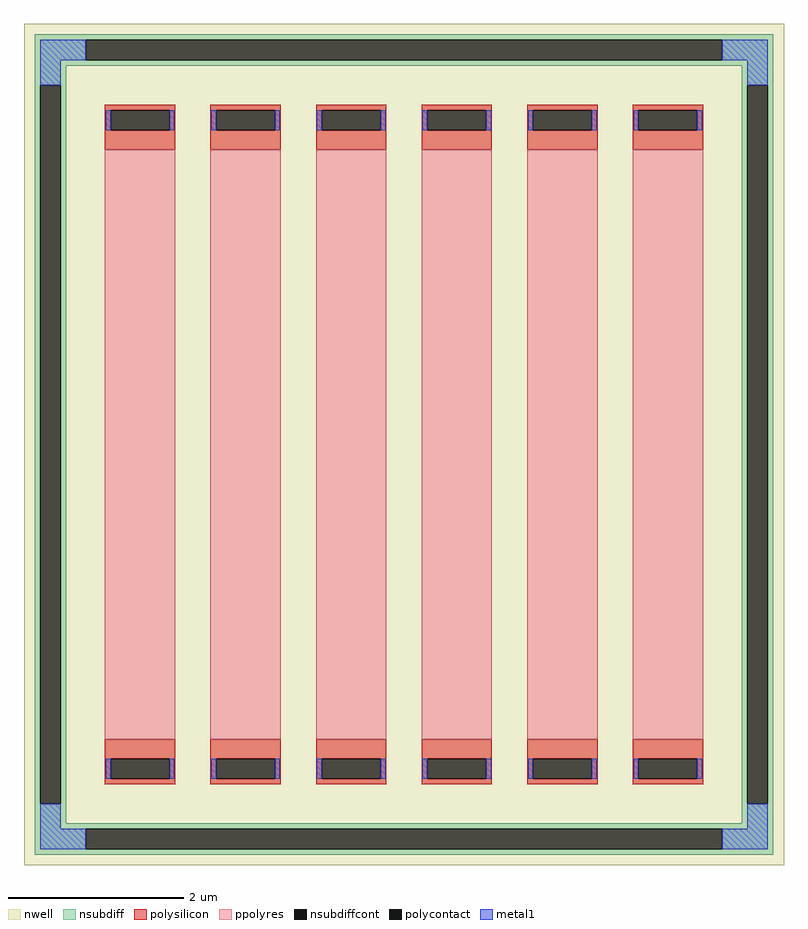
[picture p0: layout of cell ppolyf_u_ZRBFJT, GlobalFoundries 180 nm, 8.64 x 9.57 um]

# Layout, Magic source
magic
tech gf180mcuC
magscale 1 10
<< nwell >>
rect -864 -957 864 957
<< nsubdiff >>
rect -840 920 840 933
rect -840 874 -724 920
rect 724 874 840 920
rect -840 861 840 874
rect -840 817 -768 861
rect -840 -817 -827 817
rect -781 -817 -768 817
rect 768 817 840 861
rect -840 -861 -768 -817
rect 768 -817 781 817
rect 827 -817 840 817
rect 768 -861 840 -817
rect -840 -874 840 -861
rect -840 -920 -724 -874
rect 724 -920 840 -874
rect -840 -933 840 -920
<< nsubdiffcont >>
rect -724 874 724 920
rect -827 -817 -781 817
rect 781 -817 827 817
rect -724 -920 724 -874
<< polysilicon >>
rect -680 760 -520 773
rect -680 714 -667 760
rect -533 714 -520 760
rect -680 670 -520 714
rect -680 -714 -520 -670
rect -680 -760 -667 -714
rect -533 -760 -520 -714
rect -680 -773 -520 -760
rect -440 760 -280 773
rect -440 714 -427 760
rect -293 714 -280 760
rect -440 670 -280 714
rect -440 -714 -280 -670
rect -440 -760 -427 -714
rect -293 -760 -280 -714
rect -440 -773 -280 -760
rect -200 760 -40 773
rect -200 714 -187 760
rect -53 714 -40 760
rect -200 670 -40 714
rect -200 -714 -40 -670
rect -200 -760 -187 -714
rect -53 -760 -40 -714
rect -200 -773 -40 -760
rect 40 760 200 773
rect 40 714 53 760
rect 187 714 200 760
rect 40 670 200 714
rect 40 -714 200 -670
rect 40 -760 53 -714
rect 187 -760 200 -714
rect 40 -773 200 -760
rect 280 760 440 773
rect 280 714 293 760
rect 427 714 440 760
rect 280 670 440 714
rect 280 -714 440 -670
rect 280 -760 293 -714
rect 427 -760 440 -714
rect 280 -773 440 -760
rect 520 760 680 773
rect 520 714 533 760
rect 667 714 680 760
rect 520 670 680 714
rect 520 -714 680 -670
rect 520 -760 533 -714
rect 667 -760 680 -714
rect 520 -773 680 -760
<< polycontact >>
rect -667 714 -533 760
rect -667 -760 -533 -714
rect -427 714 -293 760
rect -427 -760 -293 -714
rect -187 714 -53 760
rect -187 -760 -53 -714
rect 53 714 187 760
rect 53 -760 187 -714
rect 293 714 427 760
rect 293 -760 427 -714
rect 533 714 667 760
rect 533 -760 667 -714
<< ppolyres >>
rect -680 -670 -520 670
rect -440 -670 -280 670
rect -200 -670 -40 670
rect 40 -670 200 670
rect 280 -670 440 670
rect 520 -670 680 670
<< metal1 >>
rect -827 874 -724 920
rect 724 874 827 920
rect -827 817 -781 874
rect 781 817 827 874
rect -678 714 -667 760
rect -533 714 -522 760
rect -438 714 -427 760
rect -293 714 -282 760
rect -198 714 -187 760
rect -53 714 -42 760
rect 42 714 53 760
rect 187 714 198 760
rect 282 714 293 760
rect 427 714 438 760
rect 522 714 533 760
rect 667 714 678 760
rect -678 -760 -667 -714
rect -533 -760 -522 -714
rect -438 -760 -427 -714
rect -293 -760 -282 -714
rect -198 -760 -187 -714
rect -53 -760 -42 -714
rect 42 -760 53 -714
rect 187 -760 198 -714
rect 282 -760 293 -714
rect 427 -760 438 -714
rect 522 -760 533 -714
rect 667 -760 678 -714
rect -827 -874 -781 -817
rect 781 -874 827 -817
rect -827 -920 -724 -874
rect 724 -920 827 -874
<< properties >>
string FIXED_BBOX -804 -897 804 897
string gencell ppolyf_u
string library gf180mcu
string parameters w 0.8 l 6.697 m 1 nx 6 wmin 0.80 lmin 1.00 rho 315 val 2.889k dummy 0 dw 0.07 term 0.0 sterm 0.0 caplen 0.4 snake 0 glc 1 grc 1 gtc 1 gbc 1 roverlap 0 endcov 100 full_metal 1
<< end >>
